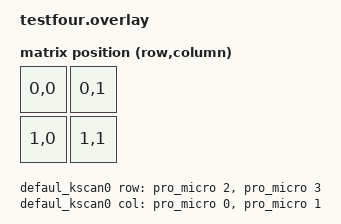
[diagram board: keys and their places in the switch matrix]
#include <dt-bindings/zmk/matrix_transform.h> // Put this with the other includes at the top of your overlay

/ {
    default_transform: keymap_transform0 {
        compatible = "zmk,matrix-transform";
        columns = <2>; // Length of the "col-gpios" array
        rows = <2>; // Length of the "row-gpios" array
        map = <
        //   Key 1 | Key 2 | Key 3
            RC(0,0) RC(0,1) 
        //   Key 4 | Key 5 | Key 6
            RC(1,0) RC(1,1) 
        //   Key 7 | Key 8 | Key 9
            
        >;
    };
};

/ {
    chosen {
        zmk,kscan = &kscan0;
        zmk,physical-layout = &physical_layout0;
        // Other chosen items
    };
};

/ {
    defaul_kscan0: kscan0 {
        compatible = "zmk,kscan-gpio-matrix";
        diode-direction = "col2row";
        wakeup-source;

        col-gpios
            = <&pro_micro 0 GPIO_ACTIVE_HIGH>
            , <&pro_micro 1 GPIO_ACTIVE_HIGH>
           
            ;

        row-gpios
            = <&pro_micro 2 (GPIO_ACTIVE_HIGH | GPIO_PULL_DOWN)>
            , <&pro_micro 3 (GPIO_ACTIVE_HIGH | GPIO_PULL_DOWN)>
            
            ;
    };
};
